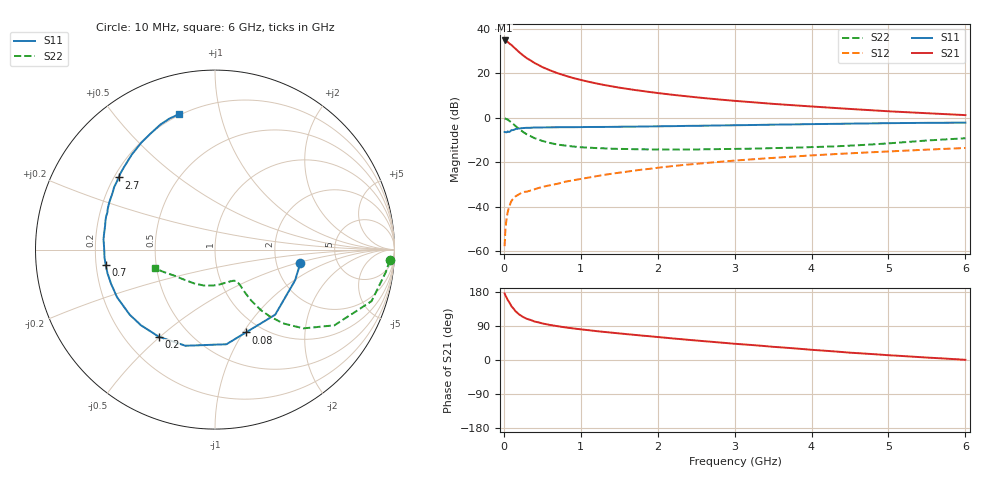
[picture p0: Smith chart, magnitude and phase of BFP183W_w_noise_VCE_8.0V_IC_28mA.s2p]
! (c) 2017  Infineon Technologies AG, Munich
! Infineon Technologies  Discrete & RF Semiconductors
! BFP183W
! VCE =  8.0 V,  IC =  28 mA
! Common Emitter S-Parameters:  Jan 2017
# GHz  S  MA  R  50
!  f  S11  S21  S12  S22
! GHz  MAG  ANG  MAG  ANG  MAG  ANG  MAG  ANG
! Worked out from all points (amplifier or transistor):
!   77 points, 10 MHz to 6 GHz, reference 50 ohm
!   highest |S21| = 34.8 dB at 10 MHz (marker M1)
!   |S21| within 3 dB of that: start of sweep to 128.3 MHz
!   unconditionally stable (mu >= 1): 1.035 GHz to 3.469 GHz
!   at 130 MHz: K = 0.27, MSG = 33.9 dB, |S12| = -36.1 dB
!   at 2.2 GHz: K = 1.06, MAG = 14.6 dB, |S12| = -21.7 dB
!   at 6 GHz: K = 0.86, MSG = 7.4 dB, |S12| = -13.5 dB
!   lowest NFmin = 1.35 dB at 450 MHz
!   S11 on the Smith chart (normalised r, x): 10 MHz: 2.75, -0.52; 80 MHz: 0.84, -1.03; 200 MHz: 0.34, -0.50; 700 MHz: 0.24, -0.07; 2.7 GHz: 0.22, +0.32; 6 GHz: 0.19, +0.75
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0.01  0.4818 -8.7  55.11 175.6  0.0013 85.9  0.9752 -3.5
0.02  0.478 -21.0  54.39 170.7  0.003 81.4  0.9604 -7.4
0.05  0.4939 -47.2  50.97 158.6  0.0076 68.8  0.9185 -18.2
0.08  0.4926 -69.5  45.94 148.9  0.0112 64.6  0.8337 -26.2
0.1  0.5312 -83.1  43.44 141.4  0.0137 63.1  0.7877 -32.4
0.15  0.5605 -107.1  36.03 129.1  0.0171 54.6  0.6595 -41.7
0.2  0.5776 -122.8  29.99 120.1  0.0192 49.6  0.5593 -47.3
0.25  0.5898 -134.4  25.44 113.5  0.0216 48.1  0.4822 -50.6
0.3  0.5978 -142.7  21.91 108.6  0.0219 47.1  0.4246 -52.8
0.4  0.6068 -154.1  17.11 101.5  0.0248 48.5  0.3493 -54.6
0.5  0.6096 -161.8  13.89 96.5  0.028 50.5  0.3026 -55.0
0.6  0.6133 -167.6  11.73 92.5  0.0305 51.5  0.2723 -55.2
0.7  0.6151 -172.1  10.1 89.2  0.033 53.9  0.2509 -54.8
0.9  0.617 -179.4  7.891 83.4  0.0394 56.7  0.2271 -55.2
1.1  0.6236 174.8  6.502 78.7  0.0453 59.0  0.2144 -55.9
1.5  0.6312 165.3  4.787 70.2  0.0585 61.4  0.2005 -60.1
2.1  0.6484 153.3  3.456 58.8  0.0789 60.6  0.1942 -71.2
2.7  0.6706 143.2  2.687 48.1  0.0991 58.7  0.1971 -86.1
3.1  0.6857 137.1  2.342 41.4  0.1126 56.7  0.2014 -96.7
4.1  0.7267 123.3  1.759 25.5  0.1463 51.2  0.2224 -123.1
5.1  0.7627 112.6  1.378 11.5  0.1789 45.2  0.2748 -148.8
6  0.7813 104.7  1.153 0.5  0.2102 39.1  0.3481 -162.4
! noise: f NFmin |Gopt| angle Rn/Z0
0.45  1.35  0.26  179  0.09
0.9  1.38  0.29  -179  0.1
1.9  1.87  0.44  -157  0.1
2.4  2.12  0.49  -152  0.14
